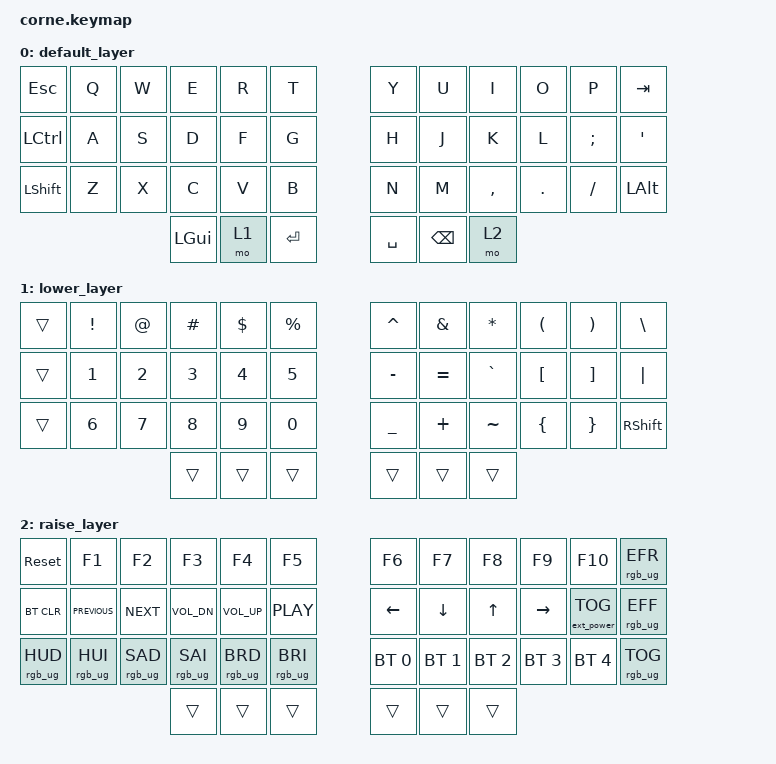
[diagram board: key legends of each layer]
/*
 * Copyright (c) 2020 The ZMK Contributors
 *
 * SPDX-License-Identifier: MIT
 */

#include <behaviors.dtsi>
#include <dt-bindings/zmk/bt.h>
#include <dt-bindings/zmk/keys.h>
#include <dt-bindings/zmk/rgb.h>
#include <dt-bindings/zmk/ext_power.h>

&led_strip {
    chain-length = <27>;
};

&nice_view_spi {
    cs-gpios = <&pro_micro 9 GPIO_ACTIVE_HIGH>;
};

/ {
    keymap {
        compatible = "zmk,keymap";

        default_layer {
            // -----------------------------------------------------------------------------------------
            // |  TAB |  Q  |  W  |  E  |  R  |  T  |   |  Y  |  U   |  I  |  O  |  P  | BKSP |
            // | CTRL |  A  |  S  |  D  |  F  |  G  |   |  H  |  J   |  K  |  L  |  ;  |  '   |
            // | SHFT |  Z  |  X  |  C  |  V  |  B  |   |  N  |  M   |  ,  |  .  |  /  | ESC  |
            //                    | GUI | LWR | SPC |   | ENT | RSE  | ALT |

            bindings = <
&kp ESCAPE    &kp Q  &kp W  &kp E     &kp R  &kp T        &kp Y      &kp U          &kp I      &kp O    &kp P     &kp TAB
&kp LCTRL  &kp A  &kp S  &kp D     &kp F  &kp G        &kp H      &kp J          &kp K      &kp L    &kp SEMI  &kp SINGLE_QUOTE
&kp LSHFT  &kp Z  &kp X  &kp C     &kp V  &kp B        &kp N      &kp M          &kp COMMA  &kp DOT  &kp FSLH  &kp LALT
                         &kp LGUI  &mo 1  &kp ENTER    &kp SPACE  &kp BACKSPACE  &mo 2
            >;
        };

        lower_layer {
            // -----------------------------------------------------------------------------------------
            // |  TAB |  1  |  2  |  3  |  4  |  5  |   |  6  |  7  |  8  |  9  |  0  | BKSP |
            // | BTCLR| BT1 | BT2 | BT3 | BT4 | BT5 |   | LFT | DWN |  UP | RGT |     |      |
            // | SHFT |     |     |     |     |     |   |     |     |     |     |     |      |
            //                    | GUI |     | SPC |   | ENT |     | ALT |

            bindings = <
&trans  &kp EXCLAMATION  &kp AT_SIGN   &kp HASH      &kp DOLLAR    &kp PERCENT    &kp CARET       &kp AMPERSAND  &kp ASTERISK  &kp LEFT_PARENTHESIS  &kp RIGHT_PARENTHESIS  &kp BACKSLASH
&trans  &kp NUMBER_1     &kp NUMBER_2  &kp NUMBER_3  &kp NUMBER_4  &kp N5         &kp MINUS       &kp EQUAL      &kp GRAVE     &kp LEFT_BRACKET      &kp RBKT               &kp PIPE
&trans  &kp NUMBER_6     &kp N7        &kp N8        &kp N9        &kp N0         &kp UNDERSCORE  &kp PLUS       &kp TILDE     &kp LEFT_BRACE        &kp RIGHT_BRACE        &kp RSHIFT
                                       &trans        &trans        &trans         &trans          &trans         &trans
            >;
        };

        raise_layer {
            // -----------------------------------------------------------------------------------------
            // |  TAB |  !  |  @  |  #  |  $  |  %  |   |  ^  |  &  |  *  |  (  |  )  | BKSP |
            // | CTRL |     |     |     |     |     |   |  -  |  =  |  [  |  ]  |  \  |  `   |
            // | SHFT |     |     |     |     |     |   |  _  |  +  |  {  |  }  | "|" |  ~   |
            //                    | GUI |     | SPC |   | ENT |     | ALT |

            bindings = <
&sys_reset       &kp F1           &kp F2           &kp F3           &kp F4           &kp F5             &kp F6        &kp F7        &kp F8        &kp F9           &kp F10             &rgb_ug RGB_EFR
&bt BT_CLR       &kp C_PREVIOUS   &kp C_NEXT       &kp C_VOL_DN     &kp C_VOLUME_UP  &kp C_PLAY         &kp LEFT      &kp DOWN      &kp UP_ARROW  &kp RIGHT        &ext_power EP_TOG   &rgb_ug RGB_EFF
&rgb_ug RGB_HUD  &rgb_ug RGB_HUI  &rgb_ug RGB_SAD  &rgb_ug RGB_SAI  &rgb_ug RGB_BRD  &rgb_ug RGB_BRI    &bt BT_SEL 0  &bt BT_SEL 1  &bt BT_SEL 2  &bt BT_SEL 3     &bt BT_SEL 4        &rgb_ug RGB_TOG
                                                   &trans           &trans           &trans             &trans        &trans        &trans
            >;
        };
    };
};
